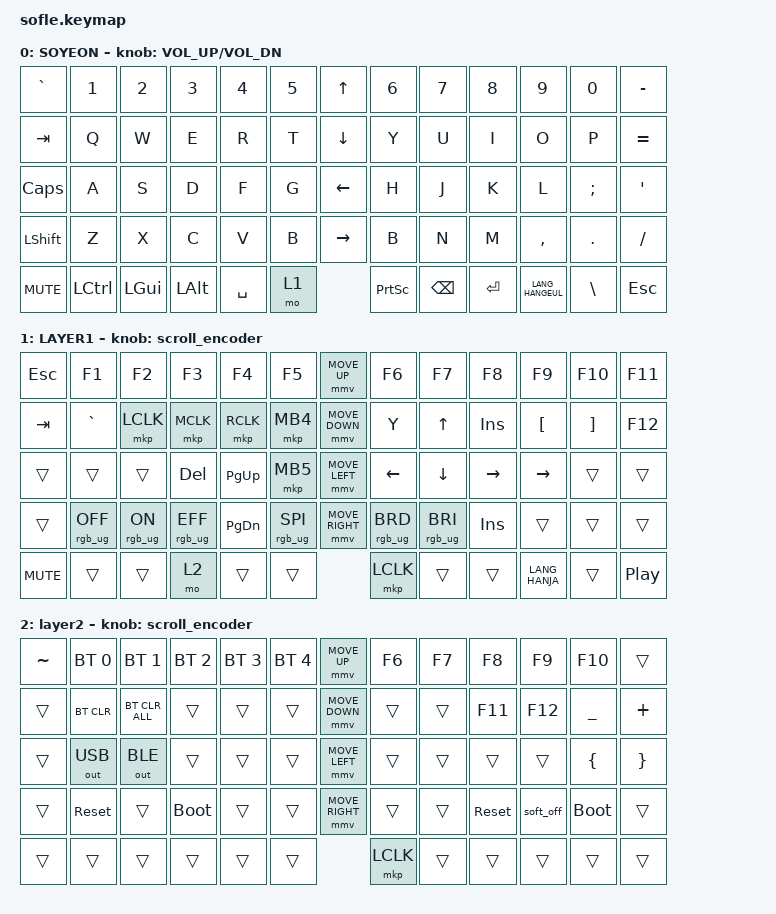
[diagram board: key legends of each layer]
#include <behaviors/mouse_keys.dtsi>
#include <behaviors.dtsi>
#include <dt-bindings/zmk/bt.h>
#include <dt-bindings/zmk/keys.h>
#include <dt-bindings/zmk/mouse.h>
#include <dt-bindings/zmk/outputs.h>
#include <dt-bindings/zmk/rgb.h>

#define U_MS_U &mmv MOVE_UP
#define U_MS_D &mmv MOVE_DOWN
#define U_MS_L &mmv MOVE_LEFT
#define U_MS_R &mmv MOVE_RIGHT
#undef ZMK_MOUSE_DEFAULT_MOVE_VAL
#define ZMK_MOUSE_DEFAULT_MOVE_VAL 800  //  600
#undef ZMK_MOUSE_DEFAULT_SCRL_VAL
#define ZMK_MOUSE_DEFAULT_SCRL_VAL 20    // 10

/ {
    behaviors {
        mmv {
            acceleration-exponent = <1>;      // 1
            time-to-max-speed-ms = <900>;    // 40
            delay-ms = <0>;                   // 0
        };

        msc {
            acceleration-exponent = <0>;      // 0
            delay-ms = <0>;                   //   10
        };
    };

    scroll_encoder: scroll_encoder {
        compatible = "zmk,behavior-sensor-rotate";
        #sensor-binding-cells = <0>;
        bindings = <&msc SCRL_DOWN>, <&msc SCRL_UP>;

        tap-ms = <20>;
    };

    keymap {
        compatible = "zmk,keymap";

        layer0 {
            bindings = <
&kp GRAVE   &kp N1        &kp N2        &kp N3         &kp N4      &kp N5   &kp UP_ARROW     &kp N6     &kp N7     &kp N8     &kp N9     &kp N0      &kp MINUS
&kp TAB     &kp Q         &kp W         &kp E          &kp R       &kp T    &kp DOWN_ARROW   &kp Y      &kp U      &kp I      &kp O      &kp P       &kp EQUAL
&kp CAPS    &kp A         &kp S         &kp D          &kp F       &kp G    &kp LEFT_ARROW   &kp H      &kp J      &kp K      &kp L      &kp SEMI    &kp APOS
&kp LSHFT   &kp Z         &kp X         &kp C          &kp V       &kp B    &kp RIGHT_ARROW  &kp B      &kp N      &kp M      &kp COMMA  &kp DOT     &kp FSLH
&kp C_MUTE  &kp LCTRL     &kp LEFT_GUI  &kp LEFT_ALT    &kp SPACE   &mo 1    &kp PSCRN        &kp BSPC   &kp ENTER  &kp LANG_HANGEUL  &kp BSLH   &kp ESC
            >;

            sensor-bindings = <&inc_dec_kp C_VOLUME_UP C_VOL_DN>;
            display-name = "SOYEON";
        };

        layer1 {
            bindings = <
&kp ESC     &kp F1           &kp F2          &kp F3           &kp F4           &kp F5             &mmv MOVE_UP     &kp F6           &kp F7            &kp F8          &kp F9     &kp F10    &kp F11
&kp TAB     &kp GRAVE        &mkp LCLK       &mkp MCLK        &mkp RCLK        &mkp MB4           &mmv MOVE_DOWN   &kp Y            &kp UP            &kp INSERT      &kp LBKT   &kp RBKT   &kp F12
&trans      &trans           &trans          &kp DEL          &kp PAGE_UP      &mkp MB5           &mmv MOVE_LEFT   &kp LEFT         &kp DOWN          &kp RIGHT       &kp RIGHT  &trans     &trans
&trans      &rgb_ug RGB_OFF  &rgb_ug RGB_ON  &rgb_ug RGB_EFF  &kp PAGE_DOWN    &rgb_ug RGB_SPI    &mmv MOVE_RIGHT  &rgb_ug RGB_BRD  &rgb_ug RGB_BRI   &kp INSERT      &trans     &trans     &trans
&kp C_MUTE  &trans           &trans          &mo 2            &trans           &trans             &mkp LCLK        &trans           &trans            &kp LANG_HANJA  &trans     &kp C_PP
            >;

            display-name = "LAYER1";
            sensor-bindings = <&scroll_encoder>;
        };

        layer2 {
            bindings = <
&kp TILDE  &bt BT_SEL 0  &bt BT_SEL 1    &bt BT_SEL 2  &bt BT_SEL 3  &bt BT_SEL 4    &mmv MOVE_UP     &kp F6  &kp F7  &kp F8      &kp F9     &kp F10      &trans
&trans     &bt BT_CLR    &bt BT_CLR_ALL  &trans        &trans        &trans          &mmv MOVE_DOWN   &trans  &trans  &kp F11     &kp F12    &kp UNDER    &kp PLUS
&trans     &out OUT_USB  &out OUT_BLE    &trans        &trans        &trans          &mmv MOVE_LEFT   &trans  &trans  &trans      &trans     &kp LBRC     &kp RBRC
&trans     &sys_reset    &trans          &bootloader   &trans        &trans          &mmv MOVE_RIGHT  &trans  &trans  &sys_reset  &soft_off  &bootloader  &trans
&trans     &trans        &trans          &trans        &trans        &trans          &mkp LCLK        &trans  &trans  &trans      &trans     &trans
            >;

            sensor-bindings = <&scroll_encoder>;
        };
    };
};
